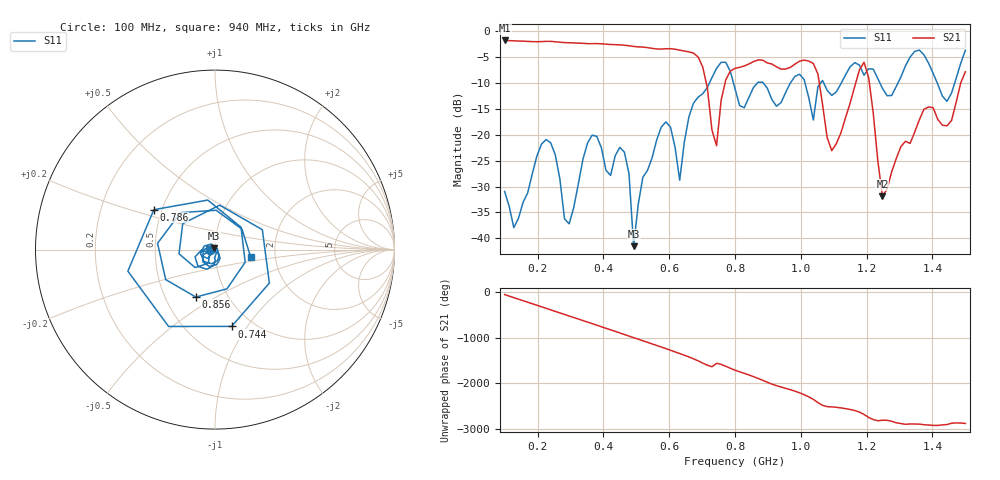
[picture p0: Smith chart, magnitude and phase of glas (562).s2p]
! NanoVNA-App
! Date: 2025-09-25 15:59:51
! Start: 100MHz Stop: 1,5GHz Points: 101
! S-Parameter data: F S11 S21 S12 S22
# Hz S RI R 50
!  Frequency  S11_Real  S11_Imag  S21_Real  S21_Imag  S12_Real  S12_Imag  S22_Real  S22_Imag
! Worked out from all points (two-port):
!   101 points, 100 MHz to 1.5 GHz, reference 50 ohm
!   highest |S21| = -1.80 dB at 100 MHz (marker M1); lowest = -31.8 dB at 1.248 GHz (marker M2)
!   |S21| within 3 dB of the highest: start of sweep to 684.4 MHz
!   lowest |S11| = -41.5 dB at 492 MHz (marker M3), VSWR 1.02, Z = 49.5 + j0.659 ohm
!   |S11| at or under -10 dB: start of sweep to 722.4 MHz; 795.3 MHz to 868.1 MHz (72.72 MHz wide, 8.74 % of centre); 885.9 MHz to 968.4 MHz (82.51 MHz wide, 8.9 % of centre) (the widest 3 of 7)
!   S12 and S22 are empty: the file has one direction only
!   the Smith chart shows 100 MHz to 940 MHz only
!   S11 on the Smith chart (normalised r, x): 100 MHz: 0.95, -0.01; 744 MHz: 0.80, -0.85; 786 MHz: 0.45, +0.24; 856 MHz: 0.71, -0.41; 940 MHz: 1.49, -0.14
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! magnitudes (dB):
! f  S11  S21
! 100 MHz  -30.9  -1.8
! 128 MHz  -37.9  -1.9
! 226 MHz  -20.9  -2.0
! 296 MHz  -37.2  -2.2
! 338 MHz  -24.7  -2.4
! 464 MHz  -23.4  -2.7
! 492 MHz  -41.5  -3.0
! 576 MHz  -18.5  -3.5
! 632 MHz  -28.8  -3.7
! 702 MHz  -12.1  -6.9
! 744 MHz  -7.2  -22.1
! 786 MHz  -7.8  -7.7
! 800 MHz  -11.1  -7.2
! 856 MHz  -10.9  -5.9
! 940 MHz  -13.8  -7.3
! 1.038 GHz  -17.2  -6.3
! 1.094 GHz  -12.4  -23.1
! 1.192 GHz  -8.5  -6.0
! 1.248 GHz  -11.0  -31.8
! 1.276 GHz  -12.4  -27.2
! 1.444 GHz  -13.5  -18.3
! 1.5 GHz  -3.7  -7.8
